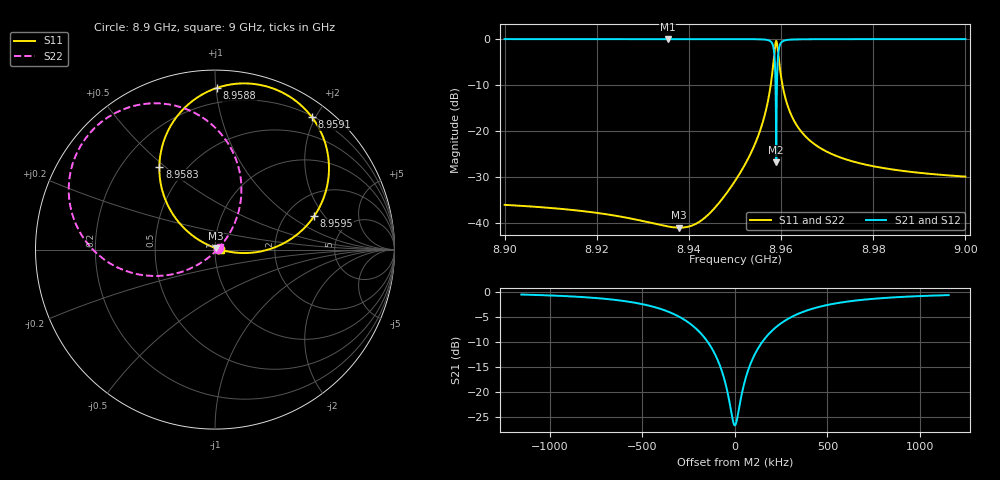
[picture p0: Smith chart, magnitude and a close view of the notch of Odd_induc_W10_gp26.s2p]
! Sonnet Data File
! From: emgraph Version : 16.52
! From Project: Resonator2_cp_varyW
! Data is De-embedded
! Data File Written: 10/09/2017 13:24:46
!< HDATE 10/09/2017 09:18:07
!< MDATE 10/09/2017 09:18:07
!< PARAMS
!< Length = 400.0
!< Pwid1 = 2000.0
!< Pwid2 = 2000.0
!< Air_gap = 6.0
!< Width = 10.0
!< gap = 26.0
!< END PARAMS
# GHZ S MA R 35.98000
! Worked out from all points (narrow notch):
!   1595 points, 8.9 GHz to 9 GHz, reference 35.98 ohm
!   highest |S21| = 0.00 dB at 8.9354 GHz (marker M1); lowest = -26.7 dB at 8.9589 GHz (marker M2)
!   notch at M2: 26.7 dB deep, 193 kHz wide at half that depth
!   lowest |S11| = -40.9 dB at 8.9379 GHz (marker M3), VSWR 1.02, Z = 36.2 + j0.611 ohm
!   |S11| at or under -10 dB: start of sweep to 8.9577 GHz; 8.960307 GHz to end of sweep
!   |S22| runs from -41.0 to -0.4 dB; largest |S21 - S12| = 0
!   S11 on the Smith chart (normalised r, x): 8.9 GHz: 1.03, +0.01; 8.9583 GHz: 0.36, +0.48; 8.9588 GHz: 0.10, +1.01; 8.9591 GHz: 0.22, +1.95; 8.9595 GHz: 2.81, +1.57; 9 GHz: 1.07, -0.00
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8.9  0.01588 16.1  0.9999 -76.0  0.9999 -76.0  0.01587 12.0
!< P1 F=8.9 Eeff=(5.36982967 -2.3752e-5) Z0=(35.9777542 8.05608e-5) R=0.0 C=0.0
!< P2 F=8.9 Eeff=(5.36982967 -2.3752e-5) Z0=(35.9777542 8.05608e-5) R=0.0 C=0.0
8.9167  0.01363 22.5  0.9999 -76.3  0.9999 -76.3  0.01362 4.9
8.9334  0.009696 48.6  0.9999 -76.8  0.9999 -76.8  0.009668 -22.1
8.9354  0.009255 56.7  0.9999 -76.9  0.9999 -76.9  0.009221 -30.4
8.9379  0.008981 70.0  0.9999 -77.1  0.9999 -77.1  0.008938 -44.1
8.944  0.01216 112.3  0.9999 -77.6  0.9999 -77.6  0.0121 -87.8
8.95  0.0288 140.6  0.9995 -78.7  0.9995 -78.7  0.02873 -118.5
8.956587  0.1587 147.6  0.9858 -86.3  0.9858 -86.3  0.1586 -141.4
8.957699  0.3052 140.1  0.947 -95.0  0.947 -95.0  0.3049 -152.1
8.95834  0.5555 124.0  0.8125 -110.9  0.8125 -110.9  0.5549 -169.8
8.958592  0.7426 108.8  0.6275 -125.1  0.6275 -125.1  0.742 174.3
8.958794  0.9017 89.2  0.3284 -140.5  0.3284 -140.5  0.9009 154.3
8.958872  0.9407 79.9  0.1722 -142.2  0.1722 -142.2  0.9398 144.8
8.958947  0.9542 70.4  0.04619 -76.8  0.04619 -76.8  0.9534 135.1
8.959083  0.9144 53.8  0.2913 -12.6  0.2913 -12.6  0.9136 118.2
8.959256  0.7904 36.6  0.5632 -25.2  0.5632 -25.2  0.7898 100.5
8.959547  0.5818 18.5  0.7943 -41.7  0.7943 -41.7  0.5813 81.8
8.960102  0.3619 3.9  0.9262 -56.0  0.9262 -56.0  0.3616 66.0
8.96122  0.204 -4.9  0.9773 -65.5  0.9773 -65.5  0.2039 54.9
8.9667  0.07589 -8.5  0.997 -73.0  0.997 -73.0  0.07586 42.7
8.9834  0.03896 -4.3  0.9992 -75.3  0.9992 -75.3  0.03896 33.8
9  0.03216 -2.0  0.9995 -75.8  0.9995 -75.8  0.03216 30.4
